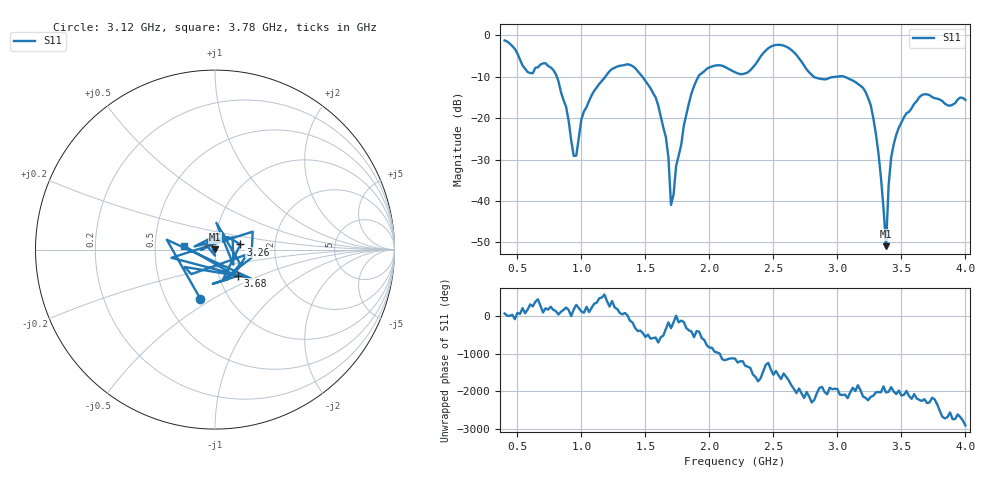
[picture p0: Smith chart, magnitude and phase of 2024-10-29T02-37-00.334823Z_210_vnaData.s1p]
!Created with skrf (http://scikit-rf.org).
# Hz S RI R 50.0
!freq ReS11 ImS11
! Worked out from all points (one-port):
!   181 points, 400 MHz to 4 GHz, reference 50 ohm
!   lowest |S11| = -50.9 dB at 3.38 GHz (marker M1), VSWR 1.01, Z = 49.8 + j0.216 ohm
!   |S11| at or under -10 dB: 808.1 MHz to 1.186 GHz (378.1 MHz wide, 37.9 % of centre); 1.477 GHz to 1.913 GHz (435.9 MHz wide, 25.7 % of centre); 3.058 GHz to end of sweep (the widest 3 of 4)
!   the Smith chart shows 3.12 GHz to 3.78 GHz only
!   S11 on the Smith chart (normalised r, x): 3.12 GHz: 0.74, -0.44; 3.26 GHz: 1.33, +0.08; 3.68 GHz: 1.23, -0.37; 3.78 GHz: 0.71, +0.03
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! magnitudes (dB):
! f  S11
! 400 MHz  -1.2
! 580 MHz  -8.8
! 780 MHz  -8.3
! 860 MHz  -15.6
! 960 MHz  -29.0
! 1 GHz  -20.2
! 1.08 GHz  -14.4
! 1.3 GHz  -7.3
! 1.58 GHz  -15.0
! 1.66 GHz  -24.6
! 1.7 GHz  -40.9
! 1.76 GHz  -29.0
! 1.92 GHz  -9.6
! 2.2 GHz  -8.9
! 2.5 GHz  -2.4
! 2.66 GHz  -4.0
! 2.82 GHz  -10.1
! 3.1 GHz  -10.6
! 3.12 GHz  -10.9
! 3.26 GHz  -16.8
! 3.32 GHz  -28.3
! 3.38 GHz  -50.9
! 3.4 GHz  -36.3
! 3.42 GHz  -29.4
! 3.56 GHz  -18.4
! 3.68 GHz  -14.2
! 3.78 GHz  -15.3
! 4 GHz  -15.6
